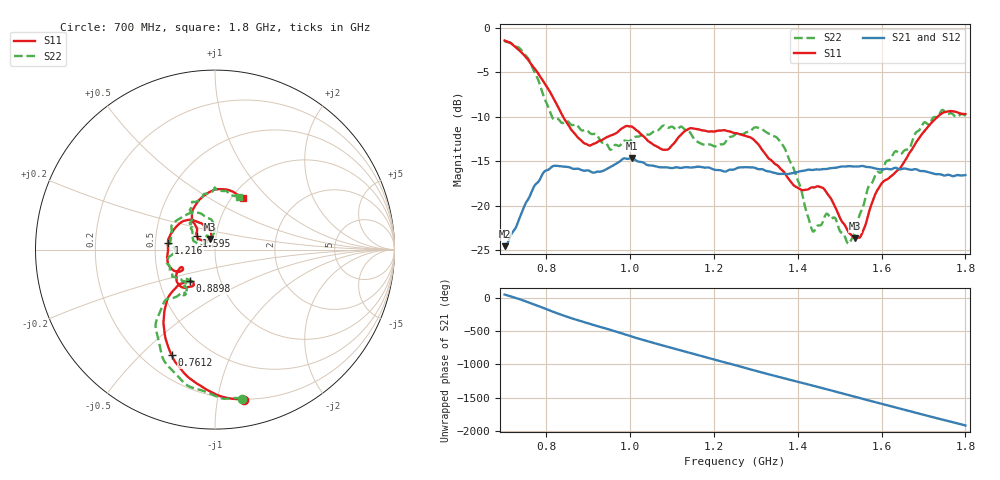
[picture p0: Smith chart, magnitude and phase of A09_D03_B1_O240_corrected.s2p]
! Created with skrf 1.9.0 (http://scikit-rf.org).
# Hz S RI R 50.0
!freq ReS11 ImS11 ReS21 ImS21 ReS12 ImS12 ReS22 ImS22
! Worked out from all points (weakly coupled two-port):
!   1601 points, 700 MHz to 1.8 GHz, reference 50 ohm
!   highest |S21| = -14.62 dB at 1.004 GHz (marker M1); lowest = -24.5 dB at 701.4 MHz (marker M2)
!   lowest |S11| = -23.6 dB at 1.536 GHz (marker M3), VSWR 1.14, Z = 46.9 + j5.58 ohm
!   |S11| at or under -10 dB: 839.9 MHz to 1.733 GHz (893.4 MHz wide, 69.4 % of centre)
!   |S22| runs from -24.3 to -1.5 dB; largest |S21 - S12| = 0.0035
!   S11 on the Smith chart (normalised r, x): 700 MHz: 0.20, -1.19; 761.2 MHz: 0.32, -0.62; 889.8 MHz: 0.71, -0.26; 1.216 GHz: 0.58, +0.05; 1.595 GHz: 0.81, +0.13; 1.8 GHz: 1.12, +0.72
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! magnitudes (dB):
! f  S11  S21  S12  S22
! 700 MHz  -1.4  -24.5  -24.3  -1.5
! 701.4 MHz  -1.4  -24.5  -24.2  -1.5
! 761.2 MHz  -3.9  -18.8  -18.7  -3.9
! 814.8 MHz  -7.7  -15.5  -15.6  -10.2
! 883.6 MHz  -12.7  -16.0  -15.9  -11.5
! 889.8 MHz  -13.0  -16.0  -16.0  -11.5
! 953 MHz  -12.1  -15.6  -15.6  -13.7
! 1.004 GHz  -11.1  -14.6  -14.8  -12.5
! 1.067 GHz  -13.4  -15.6  -15.6  -11.5
! 1.216 GHz  -11.5  -16.0  -16.0  -13.1
! 1.25 GHz  -11.8  -15.9  -15.8  -12.0
! 1.354 GHz  -15.6  -16.4  -16.3  -12.5
! 1.392 GHz  -17.8  -16.3  -16.3  -16.1
! 1.434 GHz  -17.9  -16.0  -15.9  -22.7
! 1.47 GHz  -18.6  -15.8  -15.8  -20.9
! 1.52 GHz  -22.9  -15.5  -15.6  -24.2
! 1.536 GHz  -23.6  -15.6  -15.6  -23.1
! 1.568 GHz  -20.9  -15.6  -15.6  -17.9
! 1.595 GHz  -17.8  -15.9  -15.9  -16.3
! 1.617 GHz  -16.9  -15.9  -15.8  -14.9
! 1.737 GHz  -9.9  -16.4  -16.5  -9.8
! 1.8 GHz  -9.7  -16.5  -16.5  -9.9
